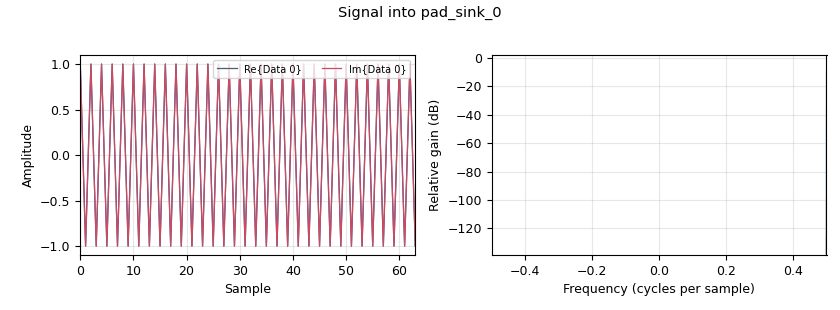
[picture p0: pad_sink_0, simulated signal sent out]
options:
  parameters:
    category: '[Radar Waveform Blocks]'
    generate_options: hb
    id: Costas_waveform
    output_language: python
    title: Costas Waveform Blocks
  states: {}

blocks:
- name: multi_const
  id: variable
  parameters:
    value: prime_number-1
  states: {}
- name: blocks_float_to_complex_0
  id: blocks_float_to_complex
  parameters: {}
  states: {}
- name: blocks_multiply_const_vxx_0
  id: blocks_multiply_const_vxx
  parameters:
    const: '0.1'
    type: float
  states: {}
- name: blocks_repeat_0
  id: blocks_repeat
  parameters:
    interp: hopping_samp_len
    type: float
  states: {}
- name: blocks_vco_f_0
  id: blocks_vco_f
  parameters:
    amplitude: '1'
    samp_rate: samp_rate
    sensitivity: samp_rate*(3.1416)
  states: {}
- name: epy_block_0
  id: epy_block
  parameters:
    _source_code: |
      """
      Embedded Python Blocks:

      Each time this file is saved, GRC will instantiate the first class it finds
      to get ports and parameters of your block. The arguments to __init__  will
      be the parameters. All of them are required to have default values!
      """

      import numpy as np
      from gnuradio import gr

      class blk(gr.sync_block):  # other base classes are basic_block, decim_block, interp_block
          """Embedded Python Block example - a simple multiply const"""

          def __init__(self, primitive_root = 2, prime_number = 11):  # only default arguments here
              """arguments to this function show up as parameters in GRC"""
              gr.sync_block.__init__(
                  self,
                  name='Costas Code Vector Source',   # will show up in GRC
                  in_sig=None,
                  out_sig=[np.float32]
              )
              # if an attribute with the same name as a parameter is found,
              # a callback is registered (properties work, too).
              self.root = primitive_root
              self.number = prime_number
              
          def work(self, input_items,output_items):
              """example: multiply with constant"""
              items = []  
              for i in range(1, self.number):
                  items = np.r_[items, (self.root ** i) % self.number] 
              

              for i in range(len(output_items[0])):
                  output_items[0][i] = items[i%(self.number-1)] 
              return len(output_items[0])
    prime_number: prime_number
    primitive_root: primitive_root
  states: {}
- name: hilbert_fc_0
  id: hilbert_fc
  parameters:
    num_taps: '65'
    win: firdes.WIN_HAMMING
  states: {state: disabled}
- name: hopping_samp_len
  id: parameter
  parameters:
    label: Length of hopping
    type: eng_float
    value: '100'
  states: {}
- name: pad_sink_0
  id: pad_sink
  parameters:
    label: out
    type: complex
  states: {}
- name: pad_sink_0_0
  id: pad_sink
  parameters:
    label: out
    type: float
  states: {state: disabled}
- name: prime_number
  id: parameter
  parameters:
    label: Prime Number
    type: intx
    value: '11'
  states: {}
- name: primitive_root
  id: parameter
  parameters:
    label: Primitive Root
    type: intx
    value: '2'
  states: {}
- name: qtgui_time_sink_x_0
  id: qtgui_time_sink_x
  parameters:
    size: '1024'
    srate: samp_rate
    type: float
  states: {state: disabled}
- name: qtgui_time_sink_x_0_0
  id: qtgui_time_sink_x
  parameters:
    size: '1024'
    srate: samp_rate
    type: float
  states: {state: disabled}
- name: qtgui_time_sink_x_0_0_0
  id: qtgui_time_sink_x
  parameters:
    size: '1024'
    srate: samp_rate
    type: complex
  states: {state: disabled}
- name: samp_rate
  id: parameter
  parameters:
    label: Sampling Rate
    type: eng_float
    value: '0'
  states: {}

connections:
- [blocks_float_to_complex_0, '0', pad_sink_0, '0']
- [blocks_float_to_complex_0, '0', qtgui_time_sink_x_0_0_0, '0']
- [blocks_multiply_const_vxx_0, '0', blocks_repeat_0, '0']
- [blocks_repeat_0, '0', blocks_vco_f_0, '0']
- [blocks_repeat_0, '0', pad_sink_0_0, '0']
- [blocks_repeat_0, '0', qtgui_time_sink_x_0_0, '0']
- [blocks_vco_f_0, '0', blocks_float_to_complex_0, '0']
- [blocks_vco_f_0, '0', blocks_float_to_complex_0, '1']
- [blocks_vco_f_0, '0', hilbert_fc_0, '0']
- [epy_block_0, '0', blocks_multiply_const_vxx_0, '0']
- [epy_block_0, '0', qtgui_time_sink_x_0, '0']
- [hilbert_fc_0, '0', pad_sink_0, '0']

metadata:
  file_format: 1
